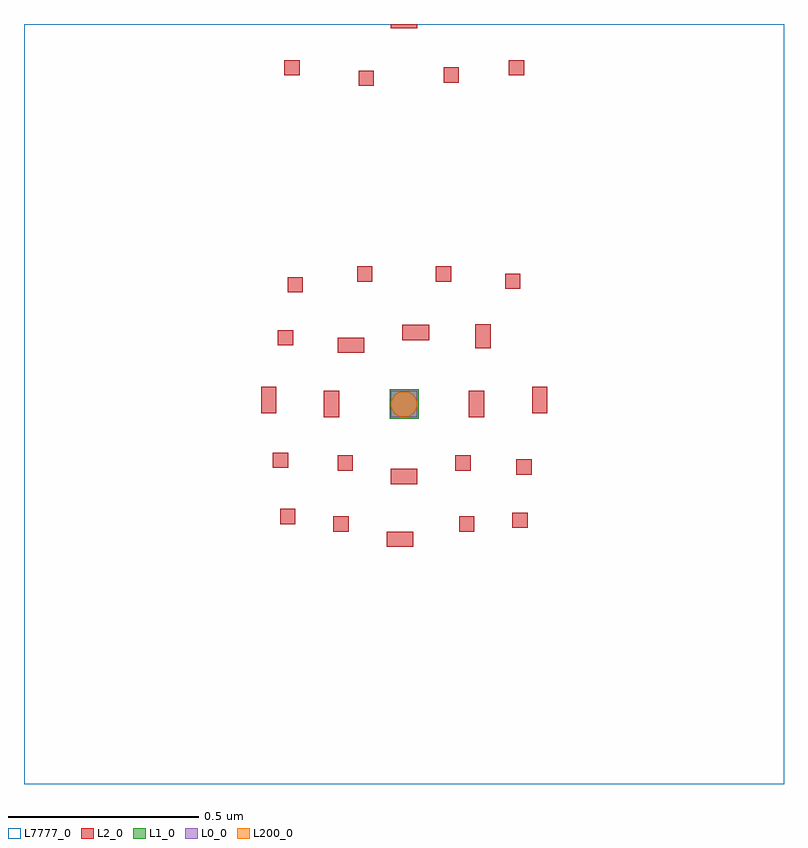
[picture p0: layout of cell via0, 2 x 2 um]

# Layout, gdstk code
import gdstk
lib = gdstk.Library(unit=1e-6, precision=1e-09)
def R(c, l, rs):  # rectangles x0, y0, x1, y1
    for r in rs: c.add(gdstk.rectangle(r[:2], r[2:], *l))
def P(c, l, *ps):  # polygons
    for p in ps: c.add(gdstk.Polygon(p, *l))
L0_0 = (0, 0)
L1_0 = (1, 0)
L2_0 = (2, 0)
L200_0 = (200, 0)
L7777_0 = (7777, 0)

via0 = lib.new_cell('via0')
R(via0, L0_0, [(5.915,2.765,5.985,2.835)])
R(via0, L1_0, [(5.912,2.761,5.989,2.839)])
R(via0, L2_0, [(5.904,2.424,5.974,2.464), (5.764,2.464,5.804,2.504), (6.095,2.464,6.135,2.504), (6.235,2.474,6.275,2.514), (5.624,2.484,5.664,2.524), (5.915,2.589,5.985,2.629), (6.246,2.614,6.286,2.654), (5.775,2.625,5.815,2.665), (6.085,2.625,6.125,2.665), (5.605,2.632,5.645,2.672), (5.739,2.765,5.779,2.835), (6.121,2.765,6.161,2.835), (5.574,2.776,5.614,2.846), (6.287,2.776,6.327,2.846), (5.776,2.935,5.846,2.975), (6.138,2.947,6.178,3.01), (5.618,2.954,5.658,2.994), (5.946,2.968,6.016,3.008), (5.644,3.094,5.684,3.134), (6.216,3.103,6.256,3.143), (5.827,3.122,5.867,3.162), (6.034,3.122,6.074,3.162), (5.831,3.637,5.871,3.677), (6.054,3.646,6.094,3.686), (5.635,3.665,5.675,3.705), (6.226,3.665,6.266,3.705), (5.915,3.789,5.985,3.8)])
P(via0, L200_0, [(5.944,2.765),(5.937,2.767),(5.926,2.775),(5.918,2.786),(5.915,2.795),(5.915,2.804),(5.917,2.809),(5.926,2.825),(5.935,2.831),(5.944,2.834),(5.963,2.832),(5.972,2.827),(5.981,2.816),(5.985,2.804),(5.985,2.795),(5.982,2.786),(5.976,2.776),(5.963,2.767)])
R(via0, L7777_0, [(4.95,1.8,6.95,3.8)])

lib.write_gds('via0.gds')
